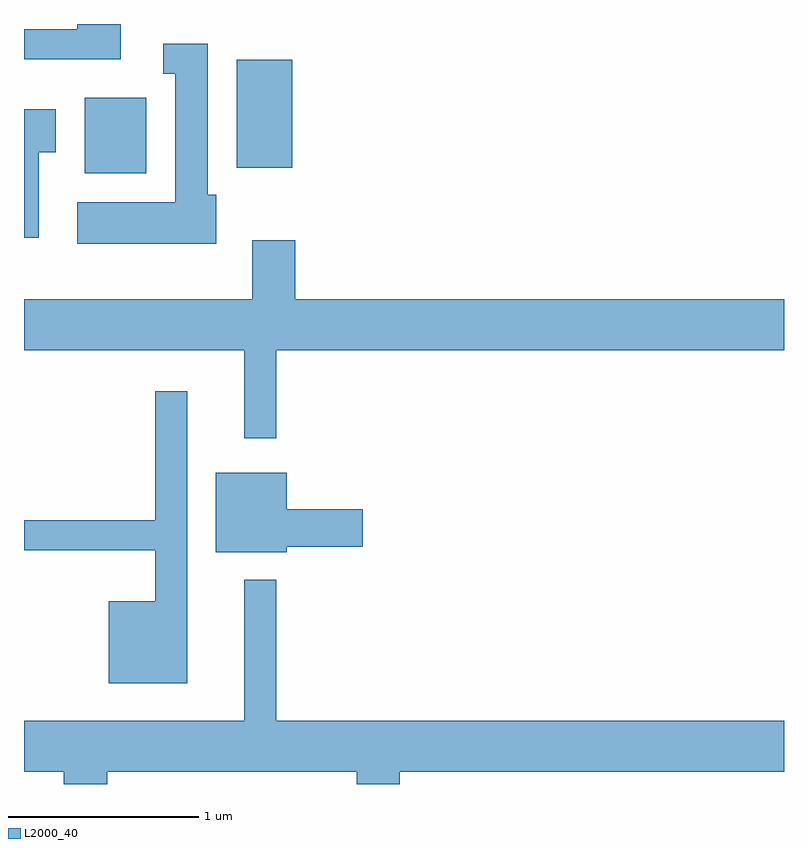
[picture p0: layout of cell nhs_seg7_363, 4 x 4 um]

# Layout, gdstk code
import gdstk
lib = gdstk.Library(unit=1e-6, precision=1e-09)
def R(c, l, rs):  # rectangles x0, y0, x1, y1
    for r in rs: c.add(gdstk.rectangle(r[:2], r[2:], *l))
def P(c, l, *ps):  # polygons
    for p in ps: c.add(gdstk.Polygon(p, *l))
L2000_40 = (2000, 40)

nhs_seg7_363 = lib.new_cell('nhs_seg7_363')
R(nhs_seg7_363, L2000_40, [(195.931,1717.466,196.254,1717.864), (196.731,1717.496,197.024,1718.064)])
P(nhs_seg7_363, L2000_40, [(196.119,1718.252),(195.891,1718.252),(195.891,1718.224),(195.611,1718.224),(195.611,1718.066),(196.119,1718.066)],
  [(196.624,1717.354),(196.579,1717.354),(196.579,1718.149),(196.343,1718.149),(196.343,1717.991),(196.406,1717.991),(196.406,1717.314),(195.891,1717.314),(195.891,1717.096),(196.624,1717.096)],
  [(195.689,1717.576),(195.779,1717.576),(195.779,1717.804),(195.611,1717.804),(195.611,1717.126),(195.689,1717.126)],
  [(196.939,1716.536),(199.611,1716.536),(199.611,1716.804),(197.039,1716.804),(197.039,1717.114),(196.811,1717.114),(196.811,1716.804),(195.611,1716.804),(195.611,1716.536),(196.771,1716.536),(196.771,1716.073),(196.939,1716.073)],
  [(196.469,1716.318),(196.301,1716.318),(196.301,1715.639),(195.611,1715.639),(195.611,1715.481),(196.301,1715.481),(196.301,1715.214),(196.056,1715.214),(196.056,1714.781),(196.469,1714.781)],
  [(196.994,1715.501),(197.394,1715.501),(197.394,1715.699),(196.994,1715.699),(196.994,1715.889),(196.621,1715.889),(196.621,1715.471),(196.994,1715.471)],
  [(196.049,1714.316),(197.361,1714.316),(197.361,1714.252),(197.589,1714.252),(197.589,1714.316),(199.611,1714.316),(199.611,1714.584),(196.939,1714.584),(196.939,1715.328),(196.771,1715.328),(196.771,1714.584),(195.611,1714.584),(195.611,1714.316),(195.821,1714.316),(195.821,1714.252),(196.049,1714.252)])

lib.write_gds('nhs_seg7_363.gds')
